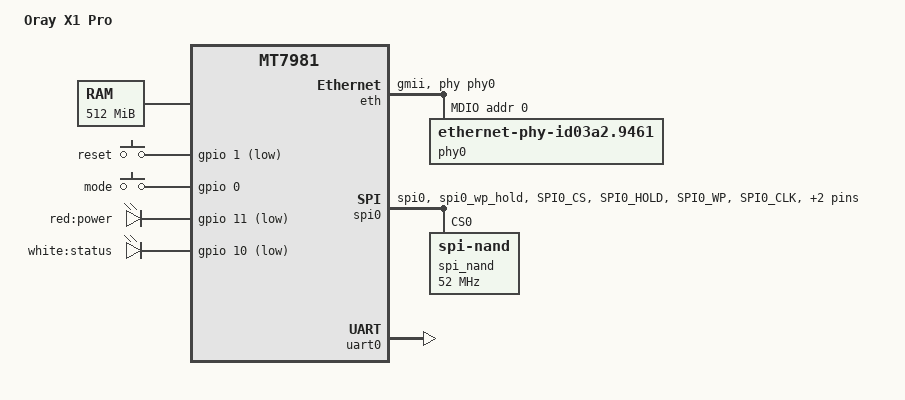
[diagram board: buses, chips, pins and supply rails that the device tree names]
// SPDX-License-Identifier: GPL-2.0-or-later

/dts-v1/;
#include "mt7981.dtsi"
#include <dt-bindings/gpio/gpio.h>
#include <dt-bindings/input/linux-event-codes.h>

/ {
	#address-cells = <1>;
	#size-cells = <1>;
    model = "Oray X1 Pro";
	compatible = "mediatek,mt7981", "mediatek,mt7981-rfb";

	chosen {
		stdout-path = &uart0;
		tick-timer = &timer0;
	};

	config {
		bootcmd = "mtkboardboot";
		blink_led = "white:status";
		system_led = "red:power";
	};

	mtd-layout {
		layout@0 {
			label = "default";
			// mtd layout for immortalwrt/openwrt 112M ubi firmware
			mtdids = "nmbm0=nmbm0";
			mtdparts = "nmbm0:1024k(bl2),512k(u-boot-env),2048k(Factory),2048k(fip),512k(bdinfo),2048k(kpanic),114688k(ubi)";
		};

		layout@1 {
			label = "oray-256m-228m";
			mtdids = "nmbm0=nmbm0";
			mtdparts = "nmbm0:1024k(bl2),512k(u-boot-env),2048k(factory),2048k(fip),512k(bdinfo),2048k(kpanic),233472k(ubi)";
		};

		layout@2 {
			label = "oray-512m-488m";
			mtdids = "nmbm0=nmbm0";
			mtdparts = "nmbm0:1024k(bl2),512k(u-boot-env),2048k(factory),2048k(fip),512k(bdinfo),2048k(kpanic),499712k(ubi)";
		};

		layout@3 {
			label = "oray-ubi0";
			mtdids = "nmbm0=nmbm0";
			mtdparts = "nmbm0:1024k(bl2),512k(u-boot-env),2048k(Factory),2048k(fip),512k(bdinfo),2048k(kpanic),57344k(ubi_0),57344k(ubi_1)";
			boot_part = "ubi_0";
			factory_part = "ubi_0";
			sysupgrade_kernel_ubipart = "ubi_0";
			sysupgrade_rootfs_ubipart = "ubi_0";
		};

		layout@4 {
			label = "oray-ubi1";
			mtdids = "nmbm0=nmbm0";
			mtdparts = "nmbm0:1024k(bl2),512k(u-boot-env),2048k(Factory),2048k(fip),512k(bdinfo),2048k(kpanic),57344k(ubi_0),57344k(ubi_1)";
			boot_part = "ubi_1";
			factory_part = "ubi_1";
			sysupgrade_kernel_ubipart = "ubi_1";
			sysupgrade_rootfs_ubipart = "ubi_1";
		};
	};

	memory@40000000 {
		device_type = "memory";
		reg = <0x40000000 0x20000000>;
	};

	gpio-keys {
		compatible = "gpio-keys";

		button-reset {
			label = "reset";
			linux,code = <KEY_RESTART>;
			gpios = <&gpio 1 GPIO_ACTIVE_LOW>;
		};

		button-mode {
			label = "mode";
			linux,code = <EV_SW>;
			linux,input-type = <BTN_0>;
			gpios = <&gpio 0 GPIO_ACTIVE_HIGH>;
			debounce-interval = <60>;
		};
	};

	gpio-leds {
		compatible = "gpio-leds";

		led_status: led-0 {
			label = "red:power";
			gpios = <&gpio 11 GPIO_ACTIVE_LOW>;
		};

		led-1 {
			label = "white:status";
			gpios = <&gpio 10 GPIO_ACTIVE_LOW>;
		};
	};

	bl2_verify {
		bl2_compatible = "spim-nand";
	};
};

&eth {
	status = "okay";
	mediatek,gmac-id = <1>;
	phy-mode = "gmii";
	phy-handle = <&phy0>;

	mdio {
		phy0: ethernet-phy@0 {
			compatible = "ethernet-phy-id03a2.9461";
			reg = <0x0>;
			phy-mode = "gmii";
		};
	};
};

&pinctrl {
	spi_flash_pins: spi0-pins-func-1 {
		mux {
			function = "flash";
			groups = "spi0", "spi0_wp_hold";
		};

		conf-pu {
			pins = "SPI0_CS", "SPI0_HOLD", "SPI0_WP";
			drive-strength = <MTK_DRIVE_8mA>;
			bias-pull-up = <MTK_PUPD_SET_R1R0_11>;
		};

		conf-pd {
			pins = "SPI0_CLK", "SPI0_MOSI", "SPI0_MISO";
			drive-strength = <MTK_DRIVE_8mA>;
			bias-pull-down = <MTK_PUPD_SET_R1R0_11>;
		};
	};
};

&spi0 {
	#address-cells = <1>;
	#size-cells = <0>;
	pinctrl-names = "default";
	pinctrl-0 = <&spi_flash_pins>;
	status = "okay";
	must_tx;
	enhance_timing;
	dma_ext;
	ipm_design;
	support_quad;
	tick_dly = <2>;
	sample_sel = <0>;

	spi_nand@0 {
		compatible = "spi-nand";
		reg = <0>;
		spi-max-frequency = <52000000>;
	};
};

&uart0 {
	status = "okay";
};

&watchdog {
	status = "disabled";
};
